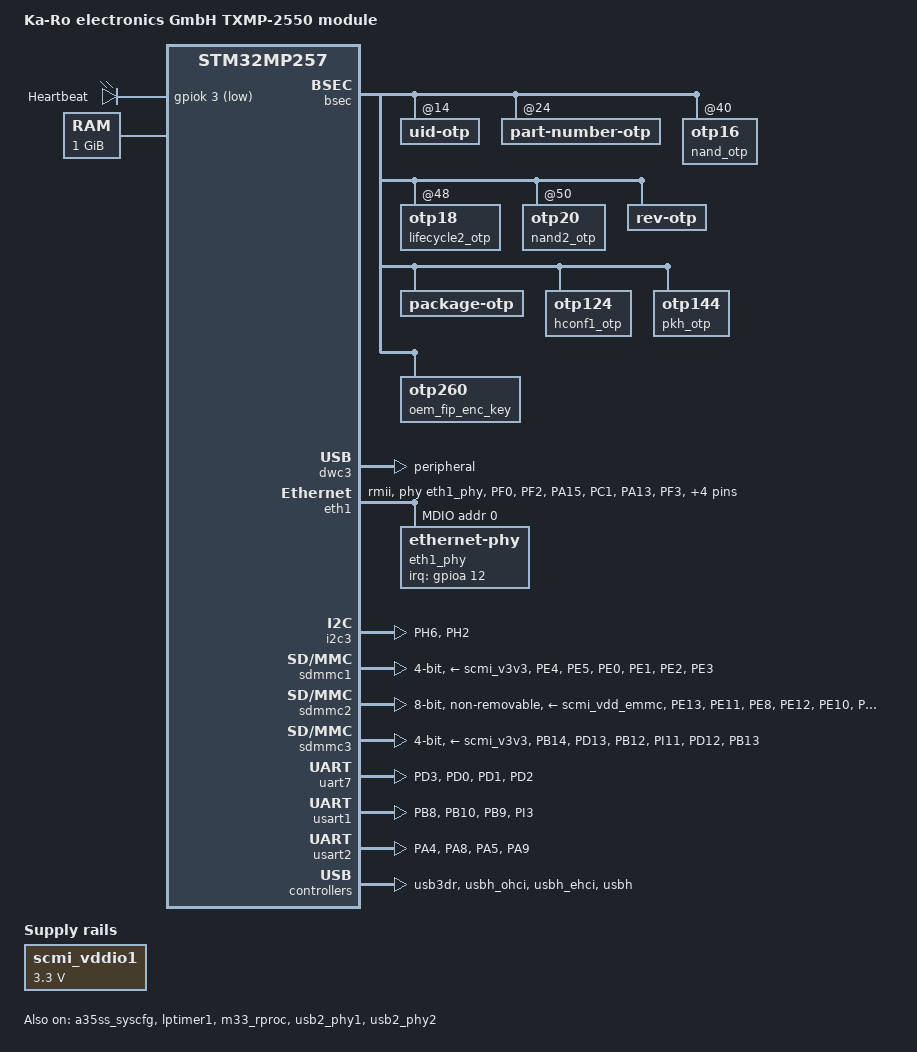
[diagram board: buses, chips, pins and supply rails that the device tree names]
// SPDX-License-Identifier: (GPL-2.0-or-later OR BSD-2-Clause)
/*
 * Copyright (C) 2024, STMicroelectronics - All Rights Reserved
 * Author: STM32CubeMX code generation for STMicroelectronics.
 */

/* For more information on Device Tree configuration, please refer to
 * https://wiki.st.com/stm32mpu/wiki/Category:Device_tree_configuration
 */

/dts-v1/;

#include "stm32mp257.dtsi"
#include "stm32mp25xf.dtsi"
#include "stm32mp255c-txmp-2550-resmem.dtsi"
#include "stm32mp25-pinctrl.dtsi"
#include "stm32mp25xxai-pinctrl.dtsi"

#include <dt-bindings/clock/stm32mp25-clks.h>
#include <dt-bindings/gpio/gpio.h>
#include <dt-bindings/interrupt-controller/irq.h>
#include <dt-bindings/pinctrl/stm32-pinfunc.h>

/ {
	model = "Ka-Ro electronics GmbH TXMP-2550 module";
	compatible = "karo,stm257f-txmp-2550", "st,stm32mp257";

	aliases {
		ethernet0 = &eth1;
		i2c0 = &i2c3;
		mmc0 = &sdmmc2;
		mmc1 = &sdmmc1;
		mmc2 = &sdmmc3;
		serial0 = &usart2;
		serial1 = &usart1;
		serial2 = &uart7;
		serial6 = &usart3;
	};

	chosen {
		stdout-path = "serial0:115200n8";
	};

	leds {
		compatible = "gpio-leds";

		txmp_led: txmp-led {
			label = "Heartbeat";
			default-state = "on";
			linux,default-trigger = "heartbeat";
			gpios = <&gpiok 3 GPIO_ACTIVE_LOW>;
		};
	};

	memory@80000000 {
		device_type = "memory";
		reg = <0x00000000 0x80000000 0x00000000 0x40000000>;
	};
};

&a35ss_syscfg {
	status = "okay";
};

&arm_wdt {
//	status = "okay";
};

&bsec {
	uid-otp@14 {
		reg = <0x14 0xc>;
	};

	part-number-otp@24 {
		reg = <0x24 0x4>;
	};

	nand_otp: otp16@40 {
		reg = <0x40 0x4>;
	};

	lifecycle2_otp: otp18@48 {
		reg = <0x48 0x4>;
	};

	nand2_otp: otp20@50 {
		reg = <0x50 0x4>;
	};

	rev-otp@198 {
		reg = <0x198 0x4>;
	};

	package-otp@1e8 {
		reg = <0x1e8 0x1>;
	};

	hconf1_otp: otp124@1f0 {
		reg = <0x1f0 0x4>;
	};

	pkh_otp: otp144@240 {
		reg = <0x240 0x20>;
	};

	oem_fip_enc_key: otp260@410 {
		reg = <0x410 0x20>;
	};
};

&dwc3 {
	dr_mode = "peripheral";
	maximum-speed = "high-speed";
};

&eth1 {
	pinctrl-names = "default", "sleep";
	pinctrl-0 = <&eth1_mdio_pins &eth1_rmii_pins>;
	pinctrl-1 = <&eth1_mdio_sleep_pins &eth1_rmii_sleep_pins>;
	phy-mode = "rmii";
	phy-reset-gpios = <&gpioa 14 GPIO_ACTIVE_LOW>;
	phy-reset-delay-us = <10000>;
	phy-reset-post-delay-us = <100>;
	phy-handle = <&eth1_phy>;
	st,ext-phyclk;
	status = "okay";

	mdio {
		#address-cells = <1>;
		#size-cells = <0>;

		eth1_phy: ethernet-phy@0 {
			reg = <0>;
			interrupt-parent = <&gpioa>;
			interrupts = <12 IRQ_TYPE_EDGE_FALLING>;
			smsc,disable-energy-detect;
		};
	};
};

&i2c3 {
	pinctrl-names = "default", "sleep";
	pinctrl-0 = <&i2c3_pins>;
	pinctrl-1 = <&i2c3_sleep_pins>;
	status = "okay";
};

&ipcc1 {
	status = "okay";
};

&lptimer1 {
	status = "okay";

	counter {
		status = "okay";
	};
};

&m33_rproc {
	mboxes = <&ipcc1 0x100>, <&ipcc1 0x101>, <&ipcc1 2>;
	mbox-names = "vq0", "vq1", "shutdown";
	memory-region = <&cm33_cube_fw>, <&cm33_cube_data>,
			<&ipc_shmem_1>, <&vdev0vring0>,
			<&vdev0vring1>, <&vdev0buffer>,
			<&cm33_sram2>;
	st,syscfg-nsvtor = <&a35ss_syscfg 0xa8 0xffffff80>;
	status = "okay";
};

&scmi_regu {
	scmi_vddcore: voltd-vddcore@b {
		reg = <VOLTD_SCMI_STPMIC2_BUCK2>;
		regulator-name = "vddcore";
	};

	scmi_v1v8: voltd-v1v8@e {
		reg = <VOLTD_SCMI_STPMIC2_BUCK5>;
		regulator-name = "v1v8";
	};

	scmi_v3v3: voltd-v3v3@10 {
		reg = <VOLTD_SCMI_STPMIC2_BUCK7>;
		regulator-name = "v3v3";
	};

	scmi_vdd_emmc: voltd-vdd-emmc@12 {
		reg = <VOLTD_SCMI_STPMIC2_LDO2>;
		regulator-name = "vdd_emmc";
	};

	scmi_vdd3v3_usb: voltd-vdd3v3-usb@14 {
		reg = <VOLTD_SCMI_STPMIC2_LDO4>;
		regulator-name = "vdd3v3_usb";
	};

	scmi_vddio_sdcard: voltd-vddio-sdcard@18 {
		reg = <VOLTD_SCMI_STPMIC2_LDO8>;
		regulator-name = "vddio_sdcard";
	};
};

&scmi_vddio1 {
	regulator-min-microvolt = <3300000>;
	regulator-max-microvolt = <3300000>;
};

&sdmmc1 {
	pinctrl-names = "default", "opendrain", "sleep";
	pinctrl-0 = <&sdmmc1_pins>;
	pinctrl-1 = <&sdmmc1_opendrain_pins>;
	pinctrl-2 = <&sdmmc1_sleep_pins>;
	disable-wp;
	st,neg-edge;
	bus-width = <4>;
	vmmc-supply = <&scmi_v3v3>;
	vqmmc-supply = <&scmi_vddio1>;
	status = "okay";
};

&sdmmc2 {
	pinctrl-names = "default", "opendrain", "sleep";
	pinctrl-0 = <&sdmmc2_pins>;
	pinctrl-1 = <&sdmmc2_opendrain_pins>;
	pinctrl-2 = <&sdmmc2_sleep_pins>;
	bus-width = <8>;
	vmmc-supply = <&scmi_vdd_emmc>;
	vqmmc-supply = <&scmi_vddio2>;
	mmc-ddr-1_8v;
	mmc-hs200-1_8v;
	no-sd;
	no-sdio;
	st,neg-edge;
	non-removable;
	status = "okay";
};

&sdmmc3 {
	pinctrl-names = "default", "opendrain", "sleep";
	pinctrl-0 = <&sdmmc3_pins>;
	pinctrl-1 = <&sdmmc3_opendrain_pins>;
	pinctrl-2 = <&sdmmc3_sleep_pins>;
	disable-wp;
	st,neg-edge;
	bus-width = <4>;
	vmmc-supply = <&scmi_v3v3>;
	vqmmc-supply = <&scmi_vddio1>;
};

&uart7 {
	pinctrl-names = "default";
	pinctrl-0 = <&uart7_pins &uart7_rtscts_pins>;
	status = "okay";
};

&usart1 {
	pinctrl-names = "default";
	pinctrl-0 = <&usart1_pins &usart1_rtscts_pins>;
	status = "okay";
};

&usart2 {
	/* serial console */
	pinctrl-names = "default";
	pinctrl-0 = <&usart2_pins &usart2_rtscts_pins>;
	uart-has-rts-cts;
	status = "okay";
};

&usb2_phy1 {
	vdd33-supply = <&scmi_vdd3v3_usb>;
	status = "okay";
};

&usb2_phy2 {
	vdd33-supply = <&scmi_vdd3v3_usb>;
	status = "okay";
};

&usb3dr {
	status = "okay";
};

&usbh_ohci {
	status = "okay";
};

&usbh_ehci {
	status = "okay";
};

&usbh {
	status = "okay";
};

&pinctrl {
	eth1_mdio_pins: eth1-mdio-pins {
		pins1 {
			pinmux = <STM32_PINMUX('F', 0, AF10)>; /* ETH_MDC */
			bias-disable;
			drive-push-pull;
			slew-rate = <2>;
		};
		pins2 {
			pinmux = <STM32_PINMUX('F', 2, AF10)>; /* ETH_MDIO */
			bias-disable;
			drive-push-pull;
			slew-rate = <0>;
		};
	};

	eth1_mdio_sleep_pins: eth1-mdio-sleep-pins {
		pins1 {
			pinmux = <STM32_PINMUX('F', 0, ANALOG)>, /* ETH_MDC */
				 <STM32_PINMUX('F', 2, ANALOG)>; /* ETH_MDIO */
		};
	};

	eth1_rmii_pins: eth1-rmii-pins {
		pins1 {
			pinmux = <
				  STM32_PINMUX('A', 15, AF10) /* ETH1_RMII_TXD0 */
				  STM32_PINMUX('C', 1, AF10) /* ETH1_RMII_TXD1 */
				  STM32_PINMUX('A', 13, AF10) /* ETH1_RMII_TX_EN */
			>;
			bias-disable;
			drive-push-pull;
			slew-rate = <3>;
		};

		pins2 {
			pinmux = <STM32_PINMUX('F', 3, AF9)>; /* ETH1_CLK */
			bias-disable;
			drive-push-pull;
			slew-rate = <3>;
		};

		pins3 {
			pinmux = <
				  STM32_PINMUX('F', 1, AF10) /* ETH1_RMII_RXD0 */
				  STM32_PINMUX('C', 2, AF10) /* ETH1_RMII_RXD1 */
				  STM32_PINMUX('A', 11, AF10) /* ETH1_RMII_CRS_DV */
			>;
			bias-pull-up;
		};
	};

	eth1_rmii_sleep_pins: eth1-rmii-sleep-pins {
		pins {
			pinmux = <
				  STM32_PINMUX('F', 3, ANALOG) /* ETH1_CLK */
				  STM32_PINMUX('A', 15, ANALOG) /* ETH1_RMII_TXD0 */
				  STM32_PINMUX('C', 1, ANALOG) /* ETH1_RMII_TXD1 */
				  STM32_PINMUX('A', 13, ANALOG) /* ETH1_RMII_TX_EN */
				  STM32_PINMUX('F', 1, ANALOG) /* ETH1_RMII_RXD0 */
				  STM32_PINMUX('C', 2, ANALOG) /* ETH1_RMII_RXD1 */
				  STM32_PINMUX('A', 11, ANALOG) /* ETH1_RMII_CRS_DV */
			>;
		};
	};

	i2c3_pins: i2c3-pins {
		pins {
			pinmux = <
			          STM32_PINMUX('H', 6, AF9) /* I2C3_SCL */
				  STM32_PINMUX('H', 2, AF9) /* I2C3_SDA */
			>;
			bias-pull-up;
			drive-open-drain;
			slew-rate = <0>;
		};
	};

	i2c3_sleep_pins: i2c3-sleep-pins {
		pins {
			pinmux = <
			          STM32_PINMUX('H', 6, ANALOG) /* I2C3_SCL */
				  STM32_PINMUX('H', 2, ANALOG) /* I2C3_SDA */
			>;
			bias-pull-up;
		};
	};

	sdmmc1_pins: sdmmc1-pins {
		pins1 {
			pinmux = <
				  STM32_PINMUX('E', 4, AF10) /* SDMMC1_D0 */
				  STM32_PINMUX('E', 5, AF10) /* SDMMC1_D1 */
				  STM32_PINMUX('E', 0, AF10) /* SDMMC1_D2 */
				  STM32_PINMUX('E', 1, AF10) /* SDMMC1_D3 */
				  STM32_PINMUX('E', 2, AF10) /* SDMMC1_CMD */
			>;
			bias-disable;
			drive-push-pull;
			slew-rate = <2>;
		};

		pins2 {
			pinmux = <STM32_PINMUX('E', 3, AF10)>; /* SDMMC1_CK */
			bias-disable;
			drive-push-pull;
			slew-rate = <3>;
		};
	};

	sdmmc1_opendrain_pins: sdmmc1-opendrain-pins {
		pins1 {
			pinmux = <
				  STM32_PINMUX('E', 4, AF10) /* SDMMC1_D0 */
				  STM32_PINMUX('E', 5, AF10) /* SDMMC1_D1 */
				  STM32_PINMUX('E', 0, AF10) /* SDMMC1_D2 */
				  STM32_PINMUX('E', 1, AF10) /* SDMMC1_D3 */
			>;
			bias-disable;
			drive-push-pull;
			slew-rate = <2>;
		};

		pins2 {
			pinmux = <STM32_PINMUX('E', 3, AF10)>; /* SDMMC1_CK */
			bias-disable;
			drive-push-pull;
			slew-rate = <3>;
		};

		pins3 {
			pinmux = <STM32_PINMUX('E', 2, AF10)>; /* SDMMC1_CMD */
			bias-pull-up;
			drive-open-drain;
			slew-rate = <2>;
		};
	};

	sdmmc1_sleep_pins: sdmmc1-sleep-pins {
		pins {
			pinmux = <
				  STM32_PINMUX('E', 4, ANALOG) /* SDMMC1_D0 */
				  STM32_PINMUX('E', 5, ANALOG) /* SDMMC1_D1 */
				  STM32_PINMUX('E', 0, ANALOG) /* SDMMC1_D2 */
				  STM32_PINMUX('E', 1, ANALOG) /* SDMMC1_D3 */
				  STM32_PINMUX('E', 3, ANALOG) /* SDMMC1_CK */
				  STM32_PINMUX('E', 2, ANALOG) /* SDMMC1_CMD */
			>;
		};
	};

	sdmmc2_pins: txmp-sdmmc2-pins {
		pins1 {
			pinmux = <
				  STM32_PINMUX('E', 13, AF12)	/* SDMMC2_D0 */
				  STM32_PINMUX('E', 11, AF12)	/* SDMMC2_D1 */
				  STM32_PINMUX('E', 8, AF12)	/* SDMMC2_D2 */
				  STM32_PINMUX('E', 12, AF12)	/* SDMMC2_D3 */
				  STM32_PINMUX('E', 10, AF12)	/* SDMMC2_D4 */
				  STM32_PINMUX('E', 9, AF12)	/* SDMMC2_D5 */
				  STM32_PINMUX('E', 6, AF12)	/* SDMMC2_D6 */
				  STM32_PINMUX('E', 7, AF12)	/* SDMMC2_D7 */
				  STM32_PINMUX('E', 15, AF12)	/* SDMMC2_CMD */
			>;
			bias-disable;
			drive-push-pull;
			slew-rate = <2>;
		};

		pins2 {
			pinmux = <STM32_PINMUX('E', 14, AF12)>; /* SDMMC2_CK */
			bias-disable;
			drive-push-pull;
			slew-rate = <3>;
		};
	};

	sdmmc2_opendrain_pins: txmp-sdmmc2-opendrain-pins {
		pins1 {
			pinmux = <
				  STM32_PINMUX('E', 13, AF12)	/* SDMMC2_D0 */
				  STM32_PINMUX('E', 11, AF12)	/* SDMMC2_D1 */
				  STM32_PINMUX('E', 8, AF12)	/* SDMMC2_D2 */
				  STM32_PINMUX('E', 12, AF12)	/* SDMMC2_D3 */
				  STM32_PINMUX('E', 10, AF12)	/* SDMMC2_D4 */
				  STM32_PINMUX('E', 9, AF12)	/* SDMMC2_D5 */
				  STM32_PINMUX('E', 6, AF12)	/* SDMMC2_D6 */
				  STM32_PINMUX('E', 7, AF12)	/* SDMMC2_D7 */
			>;
			bias-disable;
			drive-push-pull;
			slew-rate = <2>;
		};

		pins2 {
			pinmux = <STM32_PINMUX('E', 14, AF12)>; /* SDMMC2_CK */
			bias-disable;
			drive-push-pull;
			slew-rate = <3>;
		};

		pins3 {
			pinmux = <
				  STM32_PINMUX('E', 15, AF12)	/* SDMMC2_CMD */
			>;
			bias-pull-up;
			drive-open-drain;
			slew-rate = <2>;
		};
	};

	sdmmc2_sleep_pins: txmp-sdmmc2-sleep-pins {
		pins {
			pinmux = <
				  STM32_PINMUX('E', 13, ANALOG)	/* SDMMC2_D0 */
				  STM32_PINMUX('E', 11, ANALOG)	/* SDMMC2_D1 */
				  STM32_PINMUX('E', 8, ANALOG)	/* SDMMC2_D2 */
				  STM32_PINMUX('E', 12, ANALOG)	/* SDMMC2_D3 */
				  STM32_PINMUX('E', 10, ANALOG)	/* SDMMC2_D4 */
				  STM32_PINMUX('E', 9, ANALOG)	/* SDMMC2_D5 */
				  STM32_PINMUX('E', 6, ANALOG)	/* SDMMC2_D6 */
				  STM32_PINMUX('E', 7, ANALOG)	/* SDMMC2_D7 */
				  STM32_PINMUX('E', 14, ANALOG)	/* SDMMC2_CK */
				  STM32_PINMUX('E', 15, ANALOG)	/* SDMMC2_CMD */
			>;
		};
	};

	sdmmc3_pins: sdmmc3-pins {
		pins1 {
			pinmux = <
				  STM32_PINMUX('B', 14, AF10) /* SDMMC3_D0 */
				  STM32_PINMUX('D', 13, AF10) /* SDMMC3_D1 */
				  STM32_PINMUX('B', 12, AF10) /* SDMMC3_D2 */
				  STM32_PINMUX('I', 11, AF10) /* SDMMC3_D3 */
				  STM32_PINMUX('D', 12, AF10) /* SDMMC3_CMD */
			>;
			bias-disable;
			drive-push-pull;
			slew-rate = <2>;
		};

		pins2 {
			pinmux = <STM32_PINMUX('B', 13, AF10)>; /* SDMMC3_CK */
			bias-disable;
			drive-push-pull;
			slew-rate = <3>;
		};
	};

	sdmmc3_opendrain_pins: sdmmc3-opendrain-pins {
		pins1 {
			pinmux = <
				  STM32_PINMUX('B', 14, AF10) /* SDMMC3_D0 */
				  STM32_PINMUX('D', 13, AF10) /* SDMMC3_D1 */
				  STM32_PINMUX('B', 12, AF10) /* SDMMC3_D2 */
				  STM32_PINMUX('I', 11, AF10) /* SDMMC3_D3 */
			>;
			bias-disable;
			drive-push-pull;
			slew-rate = <2>;
		};

		pins2 {
			pinmux = <STM32_PINMUX('B', 13, AF10)>; /* SDMMC3_CK */
			bias-disable;
			drive-push-pull;
			slew-rate = <3>;
		};

		pins3 {
			pinmux = <STM32_PINMUX('D', 12, AF10)>; /* SDMMC3_CMD */
			bias-pull-up;
			drive-open-drain;
			slew-rate = <2>;
		};
	};

	sdmmc3_sleep_pins: sdmmc3-sleep-pins {
		pins {
			pinmux = <
				  STM32_PINMUX('B', 14, ANALOG) /* SDMMC3_D0 */
				  STM32_PINMUX('D', 13, ANALOG) /* SDMMC3_D1 */
				  STM32_PINMUX('B', 12, ANALOG) /* SDMMC3_D2 */
				  STM32_PINMUX('I', 11, ANALOG) /* SDMMC3_D3 */
				  STM32_PINMUX('D', 12, ANALOG) /* SDMMC3_CMD */
				  STM32_PINMUX('B', 13, ANALOG) /* SDMMC3_CK */
			>;
		};
	};


	uart7_pins: uart7-pins {
		pins1 {
			pinmux = <STM32_PINMUX('D', 3, AF6)>; /* UART7_TX */
			bias-disable;
			drive-push-pull;
			slew-rate = <0>;
		};

		pins2 {
			pinmux = <STM32_PINMUX('D', 0, AF6)>; /* UART7_RX */
			bias-pull-up;
		};
	};

	uart7_rtscts_pins: uart7-rtscts-pins {
		pins1 {
			pinmux = <STM32_PINMUX('D', 1, AF6)>; /* UART7_RTS */
			bias-disable;
			drive-push-pull;
			slew-rate = <0>;
		};

		pins2 {
			pinmux = <STM32_PINMUX('D', 2, AF6)>; /* UART7_CTS_NSS */
			bias-pull-up;
		};
	};

	usart1_pins: usart1-pins {
		pins1 {
			pinmux = <STM32_PINMUX('B', 8, AF6)>; /* USART1_TX */
			bias-disable;
			drive-push-pull;
			slew-rate = <0>;
		};

		pins2 {
			pinmux = <STM32_PINMUX('B', 10, AF6)>; /* USART1_RX */
			bias-pull-up;
		};
	};

	usart1_rtscts_pins: usart1-rtscts-pins {
		pins1 {
			pinmux = <STM32_PINMUX('B', 9, AF6)>; /* USART1_RTS */
			bias-disable;
			drive-push-pull;
			slew-rate = <0>;
		};

		pins2 {
			pinmux = <STM32_PINMUX('I', 3, AF6)>; /* USART1_CTS_NSS */
			bias-pull-up;
		};
	};

	usart2_pins: usart2-pins {
		pins1 {
			pinmux = <STM32_PINMUX('A', 4, AF6)>; /* USART2_TX */
			bias-disable;
			drive-push-pull;
			slew-rate = <0>;
		};

		pins2 {
			pinmux = <STM32_PINMUX('A', 8, AF8)>; /* USART2_RX */
			bias-pull-up;
		};
	};

	usart2_rtscts_pins: usart2-rtscts-pins {
		pins1 {
			pinmux = <STM32_PINMUX('A', 5, AF6)>; /* USART2_RTS */
			bias-disable;
			drive-push-pull;
			slew-rate = <0>;
		};

		pins2 {
			pinmux = <STM32_PINMUX('A', 9, AF6)>; /* USART2_CTS_NSS */
			bias-pull-up;
		};
	};
};
